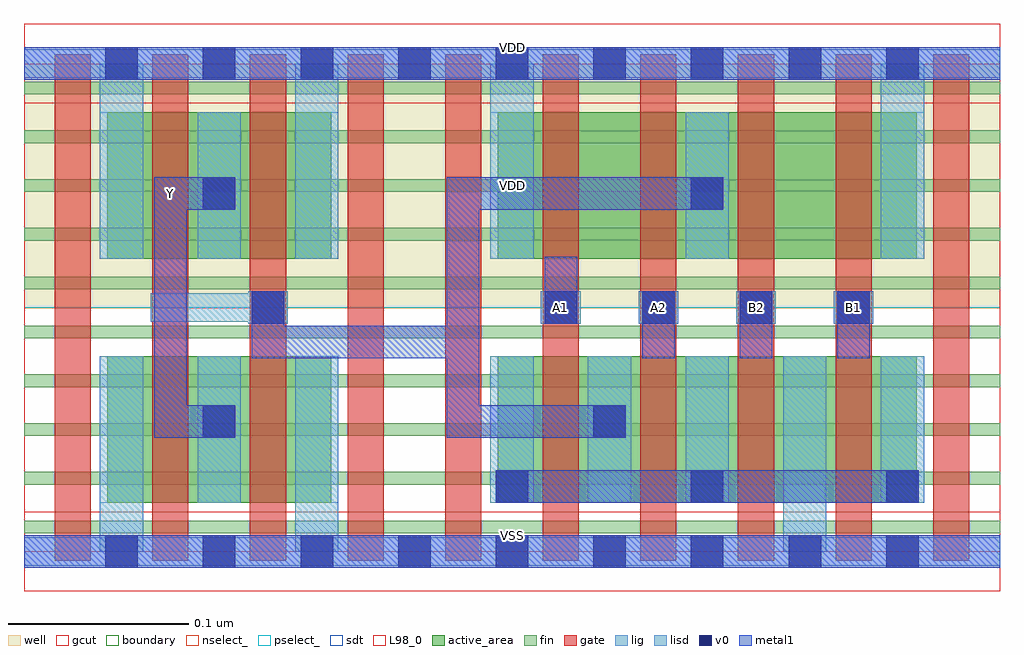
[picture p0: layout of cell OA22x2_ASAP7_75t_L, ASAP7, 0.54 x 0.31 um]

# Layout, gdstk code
import gdstk
lib = gdstk.Library(unit=1e-6, precision=2.5e-10)
def R(c, l, rs):  # rectangles x0, y0, x1, y1
    for r in rs: c.add(gdstk.rectangle(r[:2], r[2:], *l))
def A(c, l, x, y, w, h, nx, ny, dx, dy):  # array of equal rectangles
    R(c, l, [(x+i*dx, y+j*dy, x+i*dx+w, y+j*dy+h) for i in range(nx) for j in range(ny)])
def P(c, l, *ps):  # polygons
    for p in ps: c.add(gdstk.Polygon(p, *l))
well = (1, 0)
fin = (2, 0)
gate = (7, 0)
gcut = (10, 0)
active_area = (11, 0)
nselect_ = (12, 0)
pselect_ = (13, 0)
lig = (16, 0)
lisd = (17, 0)
v0 = (18, 0)
metal1 = (19, 0)
sdt = (88, 0)
L98_0 = (98, 0)
boundary = (100, 0)

oa22x2_asap7_75t_l = lib.new_cell('OA22x2_ASAP7_75t_L')
R(oa22x2_asap7_75t_l, well, [(0,0.135,0.54,0.27)])
A(oa22x2_asap7_75t_l, fin, 0, 0.01, 0.54, 0.007, 1, 10, 0, 0.027)
A(oa22x2_asap7_75t_l, gate, 0.017, -0.005, 0.02, 0.28, 10, 1, 0.054, 0)
R(oa22x2_asap7_75t_l, gcut, [(0,-0.022,0.54,0.022), (0,0.248,0.54,0.292)])
R(oa22x2_asap7_75t_l, active_area, [(0.046,0.027,0.17,0.108), (0.262,0.027,0.494,0.108), (0.046,0.162,0.17,0.243), (0.262,0.162,0.494,0.243)])
R(oa22x2_asap7_75t_l, nselect_, [(0,0,0.54,0.135)])
R(oa22x2_asap7_75t_l, pselect_, [(0,0.135,0.54,0.27)])
A(oa22x2_asap7_75t_l, lig, 0.286, 0.126, 0.022, 0.018, 4, 1, 0.054, 0)
R(oa22x2_asap7_75t_l, lig, [(0,-0.008,0.54,0.008), (0.124,0.126,0.146,0.144), (0.07,0.127,0.146,0.143), (0,0.262,0.54,0.278)])
A(oa22x2_asap7_75t_l, lisd, 0.258, 0.027, 0.024, 0.081, 3, 1, 0.054, 0)
R(oa22x2_asap7_75t_l, lisd, [(0.042,0,0.066,0.108), (0.042,0,0.066,0.108), (0.15,0,0.174,0.108), (0.15,0,0.174,0.108), (0.42,0,0.444,0.108), (0.42,0,0.444,0.108), (0.096,0.027,0.12,0.108), (0.474,0.027,0.498,0.108), (0.042,0.162,0.066,0.27), (0.042,0.162,0.066,0.27), (0.096,0.162,0.12,0.243), (0.15,0.162,0.174,0.27), (0.15,0.162,0.174,0.27), (0.258,0.162,0.282,0.27), (0.258,0.162,0.282,0.27), (0.366,0.162,0.39,0.243), (0.474,0.162,0.498,0.27), (0.474,0.162,0.498,0.27)])
A(oa22x2_asap7_75t_l, v0, 0.045, -0.009, 0.018, 0.018, 9, 2, 0.054, 0.27)
A(oa22x2_asap7_75t_l, v0, 0.261, 0.027, 0.018, 0.018, 3, 1, 0.108, 0)
A(oa22x2_asap7_75t_l, v0, 0.288, 0.126, 0.018, 0.018, 4, 1, 0.054, 0)
R(oa22x2_asap7_75t_l, v0, [(0.099,0.063,0.117,0.081), (0.315,0.063,0.333,0.081), (0.126,0.126,0.144,0.144), (0.099,0.189,0.117,0.207), (0.369,0.189,0.387,0.207)])
A(oa22x2_asap7_75t_l, metal1, 0.261, 0.027, 0.018, 0.018, 3, 1, 0.108, 0)
A(oa22x2_asap7_75t_l, metal1, 0.342, 0.107, 0.018, 0.037, 3, 1, 0.054, 0)
A(oa22x2_asap7_75t_l, metal1, 0.288, 0.126, 0.018, 0.018, 4, 1, 0.054, 0)
R(oa22x2_asap7_75t_l, metal1, [(0,-0.009,0.54,0.009), (0.261,0.027,0.495,0.045), (0.099,0.063,0.117,0.081), (0.315,0.063,0.333,0.081), (0.126,0.126,0.144,0.144), (0.288,0.126,0.306,0.163), (0.099,0.189,0.117,0.207), (0.369,0.189,0.387,0.207), (0,0.261,0.54,0.279)])
P(oa22x2_asap7_75t_l, metal1, [(0.387,0.207),(0.234,0.207),(0.234,0.125),(0.144,0.125),(0.144,0.144),(0.126,0.144),(0.126,0.107),(0.234,0.107),(0.234,0.063),(0.333,0.063),(0.333,0.081),(0.252,0.081),(0.252,0.189),(0.387,0.189)],
  [(0.117,0.081),(0.09,0.081),(0.09,0.189),(0.117,0.189),(0.117,0.207),(0.072,0.207),(0.072,0.063),(0.117,0.063)])
A(oa22x2_asap7_75t_l, sdt, 0.042, 0.027, 0.024, 0.081, 3, 2, 0.054, 0.135)
A(oa22x2_asap7_75t_l, sdt, 0.258, 0.027, 0.024, 0.081, 4, 1, 0.054, 0)
A(oa22x2_asap7_75t_l, sdt, 0.258, 0.162, 0.024, 0.081, 3, 1, 0.108, 0)
R(oa22x2_asap7_75t_l, sdt, [(0.042,0.027,0.066,0.108), (0.15,0.027,0.174,0.108), (0.42,0.027,0.444,0.108), (0.474,0.027,0.498,0.108), (0.042,0.162,0.066,0.243), (0.15,0.162,0.174,0.243), (0.258,0.162,0.282,0.243), (0.474,0.162,0.498,0.243)])
R(oa22x2_asap7_75t_l, L98_0, [(0,0,0.54,0.27)])
R(oa22x2_asap7_75t_l, boundary, [(0,0,0.54,0.27)])
oa22x2_asap7_75t_l.add(gdstk.Label('VDD', (0.27,0.2025), layer=1, texttype=251))
oa22x2_asap7_75t_l.add(gdstk.Label('VSS', (0.27,-0.0675), layer=3, texttype=251))
oa22x2_asap7_75t_l.add(gdstk.Label('VSS', (0.27,0.009), layer=19, texttype=251))
oa22x2_asap7_75t_l.add(gdstk.Label('VDD', (0.27,0.279), layer=19, texttype=251))
oa22x2_asap7_75t_l.add(gdstk.Label('Y', (0.081,0.198), layer=19, texttype=251))
oa22x2_asap7_75t_l.add(gdstk.Label('A1', (0.297,0.135), layer=19, texttype=251))
oa22x2_asap7_75t_l.add(gdstk.Label('A2', (0.351,0.135), layer=19, texttype=251))
oa22x2_asap7_75t_l.add(gdstk.Label('B2', (0.405,0.135), layer=19, texttype=251))
oa22x2_asap7_75t_l.add(gdstk.Label('B1', (0.459,0.135), layer=19, texttype=251))

lib.write_gds('OA22x2_ASAP7_75t_L.gds')
